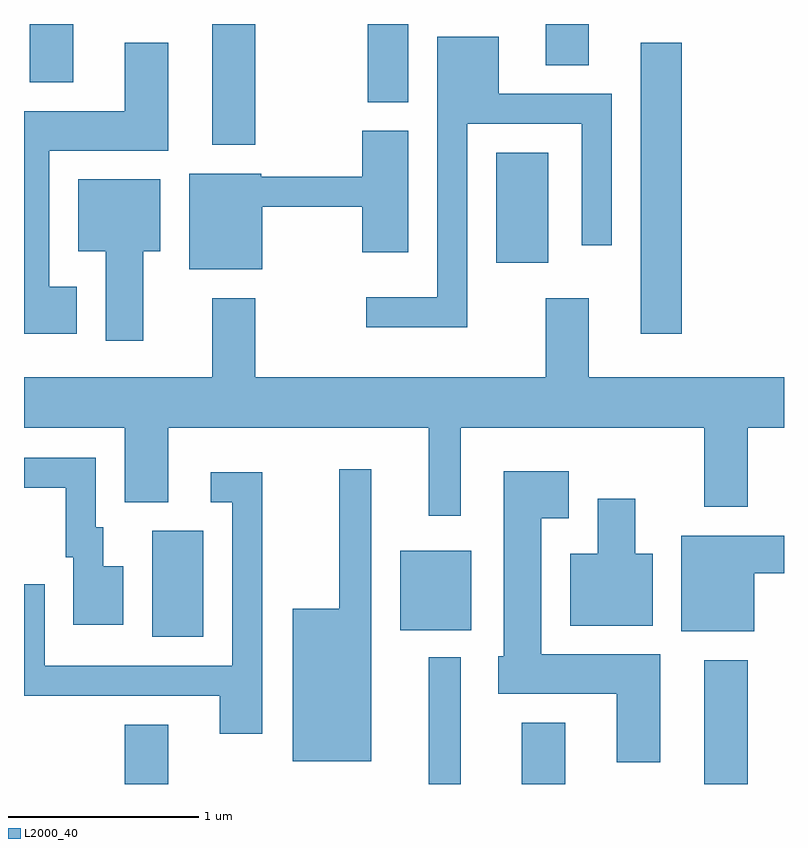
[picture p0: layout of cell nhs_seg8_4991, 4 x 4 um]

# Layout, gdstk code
import gdstk
lib = gdstk.Library(unit=1e-6, precision=1e-09)
def R(c, l, rs):  # rectangles x0, y0, x1, y1
    for r in rs: c.add(gdstk.rectangle(r[:2], r[2:], *l))
def P(c, l, *ps):  # polygons
    for p in ps: c.add(gdstk.Polygon(p, *l))
L2000_40 = (2000, 40)

nhs_seg8_4991 = lib.new_cell('nhs_seg8_4991')
R(nhs_seg8_4991, L2000_40, [(336.141,1812.342,336.369,1812.654), (337.741,1812.342,337.909,1813.008), (338.231,1812.342,338.459,1812.664), (339.191,1812.342,339.419,1812.994), (336.286,1813.116,336.554,1813.674), (337.591,1813.151,337.964,1813.569), (338.856,1814.711,339.074,1816.244), (338.096,1815.086,338.369,1815.664), (336.601,1815.706,336.829,1816.342), (337.421,1815.931,337.634,1816.342), (335.641,1816.036,335.869,1816.342), (338.356,1816.126,338.584,1816.342)])
P(nhs_seg8_4991, L2000_40, [(337.944,1815.816),(338.546,1815.816),(338.546,1815.178),(338.704,1815.178),(338.704,1815.974),(338.109,1815.974),(338.109,1816.274),(337.786,1816.274),(337.786,1814.904),(337.413,1814.904),(337.413,1814.746),(337.944,1814.746)],
  [(335.889,1814.959),(335.744,1814.959),(335.744,1815.676),(336.369,1815.676),(336.369,1816.244),(336.141,1816.244),(336.141,1815.884),(335.611,1815.884),(335.611,1814.711),(335.889,1814.711)],
  [(336.864,1815.381),(337.391,1815.381),(337.391,1815.141),(337.634,1815.141),(337.634,1815.779),(337.391,1815.779),(337.391,1815.539),(336.86,1815.539),(336.86,1815.554),(336.481,1815.554),(336.481,1815.051),(336.864,1815.051)],
  [(336.239,1815.146),(336.329,1815.146),(336.329,1815.524),(335.896,1815.524),(335.896,1815.146),(336.041,1815.146),(336.041,1814.676),(336.239,1814.676)],
  [(337.909,1814.216),(339.191,1814.216),(339.191,1813.801),(339.419,1813.801),(339.419,1814.216),(339.611,1814.216),(339.611,1814.484),(338.584,1814.484),(338.584,1814.899),(338.356,1814.899),(338.356,1814.484),(336.829,1814.484),(336.829,1814.899),(336.601,1814.899),(336.601,1814.484),(335.611,1814.484),(335.611,1814.216),(336.141,1814.216),(336.141,1813.826),(336.369,1813.826),(336.369,1814.216),(337.741,1814.216),(337.741,1813.753),(337.909,1813.753)],
  [(336.134,1813.489),(336.029,1813.489),(336.029,1813.694),(335.989,1813.694),(335.989,1814.059),(335.611,1814.059),(335.611,1813.901),(335.831,1813.901),(335.831,1813.536),(335.871,1813.536),(335.871,1813.181),(336.134,1813.181)],
  [(337.439,1813.998),(337.271,1813.998),(337.271,1813.264),(337.026,1813.264),(337.026,1812.461),(337.439,1812.461)],
  [(338.959,1813.024),(338.334,1813.024),(338.334,1813.741),(338.479,1813.741),(338.479,1813.989),(338.136,1813.989),(338.136,1813.014),(338.106,1813.014),(338.106,1812.816),(338.731,1812.816),(338.731,1812.456),(338.959,1812.456)],
  [(336.864,1813.984),(336.593,1813.984),(336.593,1813.826),(336.706,1813.826),(336.706,1812.964),(335.719,1812.964),(335.719,1813.393),(335.611,1813.393),(335.611,1812.806),(336.641,1812.806),(336.641,1812.606),(336.864,1812.606)],
  [(338.919,1813.554),(338.829,1813.554),(338.829,1813.844),(338.631,1813.844),(338.631,1813.554),(338.486,1813.554),(338.486,1813.176),(338.919,1813.176)],
  [(339.454,1813.451),(339.611,1813.451),(339.611,1813.649),(339.071,1813.649),(339.071,1813.146),(339.454,1813.146)])

lib.write_gds('nhs_seg8_4991.gds')
